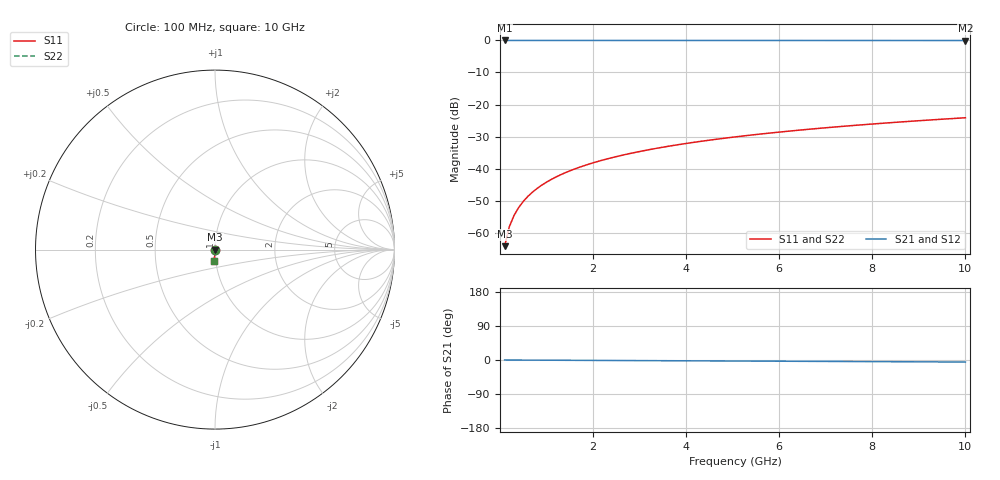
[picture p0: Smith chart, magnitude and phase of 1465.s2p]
# Hz S RI R 50.00
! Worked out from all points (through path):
!   100 points, 100 MHz to 10 GHz, reference 50 ohm
!   highest |S21| = 0.00 dB at 100 MHz (marker M1); lowest = 0.0 dB at 10 GHz (marker M2)
!   lowest |S11| = -64.2 dB at 100 MHz (marker M3), VSWR 1.00, Z = 50 - j0.0613 ohm
!   |S11| at or under -10 dB: start of sweep to end of sweep
!   |S22| runs from -64.2 to -24.1 dB; largest |S21 - S12| = 0
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1e8  4.41e-05 -0.000613  1 -0.000924  1 -0.000924  4.41e-05 -0.000613
2e8  4.2e-05 -0.00123  0.9999 -0.00185  0.9999 -0.00185  4.2e-05 -0.00123
3e8  3.86e-05 -0.00184  0.9999 -0.00277  0.9999 -0.00277  3.86e-05 -0.00184
4e8  3.41e-05 -0.00245  0.9999 -0.0037  0.9999 -0.0037  3.41e-05 -0.00245
5e8  2.84e-05 -0.00307  0.9999 -0.00462  0.9999 -0.00462  2.84e-05 -0.00307
6e8  2.16e-05 -0.00368  0.9999 -0.00554  0.9999 -0.00554  2.16e-05 -0.00368
7e8  1.36e-05 -0.00429  0.9999 -0.00647  0.9999 -0.00647  1.36e-05 -0.00429
8e8  4.46e-06 -0.00491  0.9999 -0.00739  0.9999 -0.00739  4.46e-06 -0.00491
9e8  -5.82e-06 -0.00552  0.9999 -0.00832  0.9999 -0.00832  -5.82e-06 -0.00552
1.1e9  -2.98e-05 -0.00675  0.9999 -0.0102  0.9999 -0.0102  -2.98e-05 -0.00675
1.4e9  -7.44e-05 -0.00859  0.9998 -0.0129  0.9998 -0.0129  -7.44e-05 -0.00859
1.8e9  -0.00015 -0.0111  0.9997 -0.0167  0.9997 -0.0167  -0.00015 -0.0111
2.1e9  -0.000219 -0.0129  0.9997 -0.0194  0.9997 -0.0194  -0.000219 -0.0129
2.5e9  -0.000326 -0.0154  0.9995 -0.0232  0.9995 -0.0232  -0.000326 -0.0154
2.9e9  -0.000453 -0.0178  0.9994 -0.0269  0.9994 -0.0269  -0.000453 -0.0178
3.4e9  -0.000637 -0.0209  0.9992 -0.0315  0.9992 -0.0315  -0.000637 -0.0209
4.2e9  -0.000992 -0.0259  0.9988 -0.039  0.9988 -0.039  -0.000992 -0.0259
5.1e9  -0.00148 -0.0315  0.9983 -0.0474  0.9983 -0.0474  -0.00148 -0.0315
5.9e9  -0.002 -0.0364  0.9977 -0.0549  0.9977 -0.0549  -0.002 -0.0364
6.7e9  -0.00259 -0.0414  0.9971 -0.0624  0.9971 -0.0624  -0.00259 -0.0414
8.4e9  -0.0041 -0.0519  0.9954 -0.0784  0.9954 -0.0784  -0.0041 -0.0519
1e10  -0.00584 -0.0618  0.9936 -0.0934  0.9936 -0.0934  -0.00584 -0.0618
